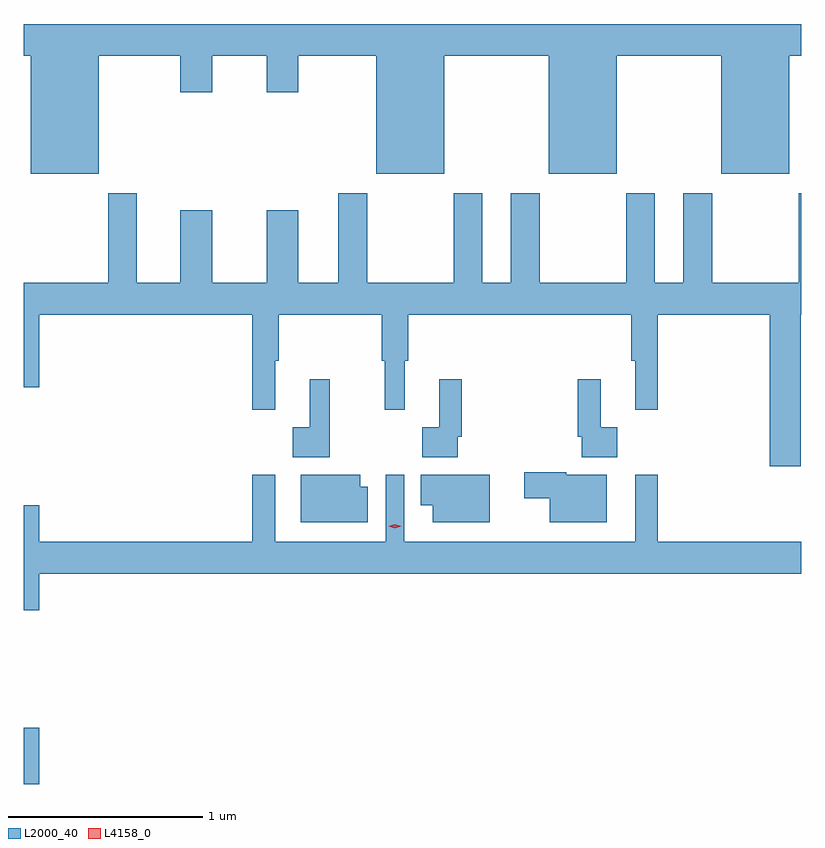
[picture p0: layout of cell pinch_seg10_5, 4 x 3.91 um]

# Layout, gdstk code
import gdstk
lib = gdstk.Library(unit=1e-6, precision=1e-09)
def R(c, l, rs):  # rectangles x0, y0, x1, y1
    for r in rs: c.add(gdstk.rectangle(r[:2], r[2:], *l))
def P(c, l, *ps):  # polygons
    for p in ps: c.add(gdstk.Polygon(p, *l))
L2000_40 = (2000, 40)
L4158_0 = (4158, 0)

pinch_seg10_5 = lib.new_cell('pinch_seg10_5')
R(pinch_seg10_5, L2000_40, [(1100.155,1260.606,1100.236,1260.895)])
P(pinch_seg10_5, L2000_40, [(1100.542,1264.352),(1100.96,1264.352),(1100.96,1264.164),(1101.124,1264.164),(1101.124,1264.352),(1101.404,1264.352),(1101.404,1264.164),(1101.568,1264.164),(1101.568,1264.352),(1101.968,1264.352),(1101.968,1263.746),(1102.318,1263.746),(1102.318,1264.352),(1102.856,1264.352),(1102.856,1263.746),(1103.206,1263.746),(1103.206,1264.352),(1103.744,1264.352),(1103.744,1263.746),(1104.094,1263.746),(1104.094,1264.352),(1104.155,1264.352),(1104.155,1264.516),(1100.155,1264.516),(1100.155,1264.352),(1100.192,1264.352),(1100.192,1263.746),(1100.542,1263.746)],
  [(1104.153,1263.02),(1104.155,1263.02),(1104.155,1263.646),(1104.142,1263.646),(1104.142,1263.184),(1103.697,1263.184),(1103.697,1263.646),(1103.549,1263.646),(1103.549,1263.184),(1103.401,1263.184),(1103.401,1263.646),(1103.254,1263.646),(1103.254,1263.184),(1102.809,1263.184),(1102.809,1263.646),(1102.661,1263.646),(1102.661,1263.184),(1102.513,1263.184),(1102.513,1263.646),(1102.366,1263.646),(1102.366,1263.184),(1101.921,1263.184),(1101.921,1263.646),(1101.773,1263.646),(1101.773,1263.184),(1101.568,1263.184),(1101.568,1263.559),(1101.404,1263.559),(1101.404,1263.184),(1101.124,1263.184),(1101.124,1263.559),(1100.96,1263.559),(1100.96,1263.184),(1100.737,1263.184),(1100.737,1263.646),(1100.59,1263.646),(1100.59,1263.184),(1100.155,1263.184),(1100.155,1262.646),(1100.236,1262.646),(1100.236,1263.02),(1101.331,1263.02),(1101.331,1262.532),(1101.449,1262.532),(1101.449,1262.784),(1101.467,1262.784),(1101.467,1263.02),(1101.997,1263.02),(1101.997,1262.784),(1102.012,1262.784),(1102.012,1262.532),(1102.115,1262.532),(1102.115,1262.784),(1102.133,1262.784),(1102.133,1263.02),(1103.281,1263.02),(1103.281,1262.784),(1103.3,1262.784),(1103.3,1262.532),(1103.417,1262.532),(1103.417,1263.02),(1103.993,1263.02),(1103.993,1262.241),(1104.153,1262.241)],
  [(1102.389,1262.392),(1102.409,1262.392),(1102.409,1262.689),(1102.292,1262.689),(1102.292,1262.441),(1102.206,1262.441),(1102.206,1262.288),(1102.389,1262.288)],
  [(1103.209,1262.441),(1103.123,1262.441),(1103.123,1262.689),(1103.005,1262.689),(1103.005,1262.392),(1103.025,1262.392),(1103.025,1262.288),(1103.209,1262.288)],
  [(1101.728,1262.689),(1101.626,1262.689),(1101.626,1262.441),(1101.54,1262.441),(1101.54,1262.288),(1101.728,1262.288)],
  [(1103.155,1262.197),(1102.947,1262.197),(1102.947,1262.21),(1102.731,1262.21),(1102.731,1262.075),(1102.862,1262.075),(1102.862,1261.952),(1103.155,1261.952)],
  [(1101.925,1262.135),(1101.886,1262.135),(1101.886,1262.197),(1101.581,1262.197),(1101.581,1261.952),(1101.925,1261.952)],
  [(1102.552,1262.197),(1102.198,1262.197),(1102.198,1262.039),(1102.259,1262.039),(1102.259,1261.952),(1102.552,1261.952)],
  [(1100.236,1261.688),(1104.155,1261.688),(1104.155,1261.852),(1103.417,1261.852),(1103.417,1262.197),(1103.3,1262.197),(1103.3,1261.852),(1102.113,1261.852),(1102.113,1262.197),(1102.017,1262.197),(1102.017,1261.852),(1101.448,1261.852),(1101.448,1262.197),(1101.331,1262.197),(1101.331,1261.852),(1100.236,1261.852),(1100.236,1262.041),(1100.155,1262.041),(1100.155,1261.5),(1100.236,1261.5)])
P(pinch_seg10_5, L4158_0, [(1102.064,1261.922),(1102.032,1261.932),(1102.031,1261.932),(1102.032,1261.932),(1102.064,1261.942),(1102.097,1261.932),(1102.097,1261.932),(1102.097,1261.932)])

lib.write_gds('pinch_seg10_5.gds')
